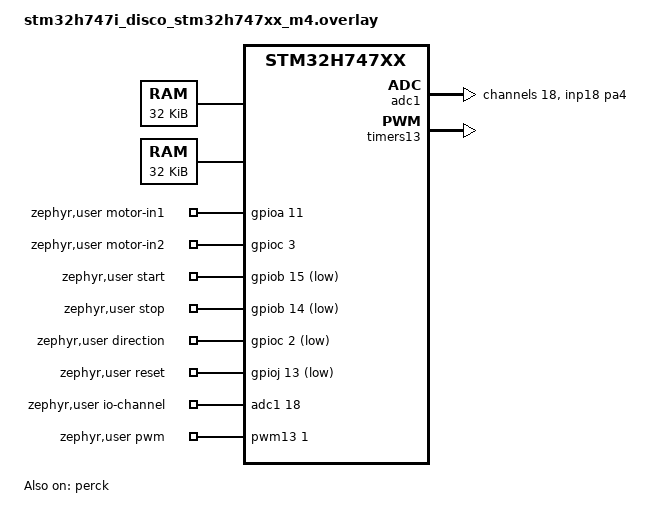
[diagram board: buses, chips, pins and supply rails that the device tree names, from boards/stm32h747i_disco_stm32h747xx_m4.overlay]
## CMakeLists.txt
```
cmake_minimum_required(VERSION 3.20.0)

find_package(Zephyr REQUIRED HINTS $ENV{ZEPHYR_BASE})
project(industrial_ethernet_motor)

target_include_directories(app PRIVATE
  src
  ${CMAKE_CURRENT_SOURCE_DIR}/../app_shared
)

target_sources(app PRIVATE
  src/main.c
  src/app_ipc.c
  src/motor_buttons.c
  src/motor_control.c
  src/motor_potentiometer.c
)
```

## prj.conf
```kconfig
# Local Cortex-M4 motor controller: no network. IPC is diagnostic-only in phase 10.1.
CONFIG_GPIO=y
CONFIG_PWM=y
CONFIG_ADC=y
CONFIG_IPC_SERVICE=y
CONFIG_IPC_SERVICE_BACKEND_ICMSG=y
CONFIG_MBOX=y

# The motor loop runs in the main thread every 10 ms.
CONFIG_MAIN_STACK_SIZE=2048
CONFIG_MAIN_THREAD_PRIORITY=5
CONFIG_THREAD_NAME=y

# The M4 board target has no console routed to ST-LINK by default.
CONFIG_SERIAL=n
CONFIG_CONSOLE=n
CONFIG_PRINTK=n
CONFIG_LOG=n
CONFIG_BOOT_BANNER=n

CONFIG_ASSERT=y
```

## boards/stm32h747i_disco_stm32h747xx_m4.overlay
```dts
#include <zephyr/dt-bindings/gpio/gpio.h>
#include <zephyr/dt-bindings/pwm/pwm.h>

/*
 * STMod+ P2 allocation for the local motor demo.
 *
 * P2.14 PF8  : L293D EN1,2 (TIM13_CH1 PWM)
 * P2.1  PA11 : L293D IN1 (default SPI routing through SB32)
 * P2.2  PC3  : L293D IN2 (default SPI routing through SB34)
 * P2.8  PB15 : START button, active low
 * P2.9  PB14 : STOP button, active low
 * P2.3  PC2  : DIRECTION button, active low (default SPI routing through SB36)
 * P2.12 PJ13 : RESET button, active low
 *
 * P2.7/PD12 and P2.10/PD13 are deliberately left to the M7 LCD I2C bus.
 * P2.11/PC6, P2.17/PC7, P2.19/PB9 and P2.20/PB8 are left to M7 SDMMC1.
 * P2.13 PA4  : potentiometer cursor (ADC1_INP18)
 */

/ {
	chosen {
		/delete-property/ zephyr,ipc_shm;
	};

	/delete-node/ memory@38000000;

	sram_rx: memory@38000000 {
		zephyr,memory-region = "SRAM_RX";
		compatible = "zephyr,memory-region", "mmio-sram";
		reg = <0x38000000 0x08000>;
		zephyr,memory-attr = <DT_MEM_ARM(ATTR_MPU_RAM_NOCACHE)>;
	};

	sram_tx: memory@38008000 {
		zephyr,memory-region = "SRAM_TX";
		compatible = "zephyr,memory-region", "mmio-sram";
		reg = <0x38008000 0x08000>;
		zephyr,memory-attr = <DT_MEM_ARM(ATTR_MPU_RAM_NOCACHE)>;
	};

	ipc0: ipc0 {
		compatible = "zephyr,ipc-icmsg";
		tx-region = <&sram_tx>;
		rx-region = <&sram_rx>;
		mboxes = <&mailbox 10>, <&mailbox 11>;
		mbox-names = "tx", "rx";
		status = "okay";
	};

	zephyr,user {
		motor-in1-gpios = <&gpioa 11 GPIO_ACTIVE_HIGH>;
		motor-in2-gpios = <&gpioc 3 GPIO_ACTIVE_HIGH>;

		start-gpios = <&gpiob 15 (GPIO_ACTIVE_LOW | GPIO_PULL_UP)>;
		stop-gpios = <&gpiob 14 (GPIO_ACTIVE_LOW | GPIO_PULL_UP)>;
		direction-gpios = <&gpioc 2 (GPIO_ACTIVE_LOW | GPIO_PULL_UP)>;
		reset-gpios = <&gpioj 13 (GPIO_ACTIVE_LOW | GPIO_PULL_UP)>;

		/* TIM13_CH1, 5 kHz. */
		pwms = <&pwm13 1 PWM_USEC(200) PWM_POLARITY_NORMAL>;
		io-channels = <&adc1 18>;
	};
};

&mailbox {
	status = "okay";
};

&perck {
	clocks = <&rcc STM32_SRC_HSE CKPER_SEL(2)>;
	status = "okay";
};

&adc1 {
	clocks = <&rcc STM32_CLOCK(AHB1, 5)>,
		 <&rcc STM32_SRC_CKPER ADC_SEL(2)>;
	clock-names = "adcx", "adc_ker";
	st,adc-clock-source = "ASYNC";
	st,adc-prescaler = <256>;
	pinctrl-0 = <&adc1_inp18_pa4>;
	pinctrl-names = "default";
	#address-cells = <1>;
	#size-cells = <0>;
	status = "okay";

	channel@12 {
		reg = <18>;
		zephyr,gain = "ADC_GAIN_1";
		zephyr,reference = "ADC_REF_INTERNAL";
		zephyr,acquisition-time = <ADC_ACQ_TIME_MAX>;
		zephyr,resolution = <12>;
	};
};

&timers13 {
	status = "okay";

	pwm13: pwm {
		status = "okay";
		pinctrl-0 = <&tim13_ch1_pf8>;
		pinctrl-names = "default";
	};
};
```

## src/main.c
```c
#include <stdbool.h>
#include <stdint.h>

#include <zephyr/devicetree.h>
#include <zephyr/drivers/gpio.h>
#include <zephyr/kernel.h>

#include "motor_buttons.h"
#include "motor_control.h"
#include "motor_potentiometer.h"
#include "app_ipc.h"

#define MOTOR_LOOP_PERIOD_MS 10
#define READY_BLINK_PERIOD_MS 500
#define STOPPING_BLINK_PERIOD_MS 100

static const struct gpio_dt_spec blue_led =
	GPIO_DT_SPEC_GET(DT_ALIAS(led0), gpios);
static const struct gpio_dt_spec red_led =
	GPIO_DT_SPEC_GET(DT_ALIAS(led1), gpios);

static bool status_leds_init(void)
{
	if (!gpio_is_ready_dt(&blue_led) || !gpio_is_ready_dt(&red_led))
	{
		return false;
	}

	if (gpio_pin_configure_dt(&blue_led, GPIO_OUTPUT_INACTIVE) < 0)
	{
		return false;
	}

	if (gpio_pin_configure_dt(&red_led, GPIO_OUTPUT_INACTIVE) < 0)
	{
		return false;
	}

	return true;
}

static void status_leds_update(void)
{
	enum app_motor_state state = app_motor_get_state();
	bool blue_on = false;
	bool red_on = false;

	switch (state)
	{
	case APP_MOTOR_STATE_DISABLED:
		break;
	case APP_MOTOR_STATE_READY:
		blue_on = ((k_uptime_get() / READY_BLINK_PERIOD_MS) % 2) != 0;
		break;
	case APP_MOTOR_STATE_RUNNING:
		blue_on = true;
		break;
	case APP_MOTOR_STATE_STOPPING:
		blue_on = ((k_uptime_get() / STOPPING_BLINK_PERIOD_MS) % 2) != 0;
		break;
	case APP_MOTOR_STATE_FAULT:
		red_on = true;
		break;
	}

	(void)gpio_pin_set_dt(&blue_led, blue_on);
	(void)gpio_pin_set_dt(&red_led, red_on);
}

int main(void)
{
	(void)k_thread_name_set(k_current_get(), "motor_main");

	bool leds_ready = status_leds_init();
	int motor_ret = app_motor_init();
	int buttons_ret = app_motor_buttons_init();
	int potentiometer_ret = app_motor_potentiometer_init();
	int ipc_ret = app_ipc_init();

	(void)ipc_ret;

	if ((motor_ret < 0) || (buttons_ret < 0) || (potentiometer_ret < 0))
	{
		if (leds_ready)
		{
			(void)gpio_pin_set_dt(&blue_led, 0);
			(void)gpio_pin_set_dt(&red_led, 1);
		}

		while (true)
		{
			k_sleep(K_FOREVER);
		}
	}

	while (true)
	{
		uint16_t requested_duty;
		uint32_t events = app_motor_buttons_poll();
		int ret = app_motor_potentiometer_poll(&requested_duty);
		app_ipc_process();

		if (ret < 0)
		{
			app_motor_fail(ret);
		}
		else if (!app_ipc_is_remote_mode())
		{
			(void)app_motor_set_target_duty(requested_duty);
		}

		/* STOP has absolute priority if several buttons are pressed together. */
		if ((events & APP_BUTTON_EVENT_STOP) != 0U)
		{
			app_ipc_latch_remote_stop();
			(void)app_motor_stop();
		}
		else if ((events & APP_BUTTON_EVENT_RESET) != 0U)
		{
			app_ipc_clear_remote_stop();
			(void)app_motor_reset();
		}
		else if (!app_ipc_is_remote_mode())
		{
			if ((events & APP_BUTTON_EVENT_DIRECTION) != 0U)
			{
				(void)app_motor_toggle_direction();
			}

			if ((events & APP_BUTTON_EVENT_START) != 0U)
			{
				(void)app_motor_start();
			}
		}

		(void)app_motor_process(MOTOR_LOOP_PERIOD_MS);
		app_ipc_publish_motor_state(app_motor_buttons_get_state(),
							app_motor_potentiometer_get_raw(),
							MOTOR_LOOP_PERIOD_MS);

		if (leds_ready)
		{
			status_leds_update();
		}

		k_msleep(MOTOR_LOOP_PERIOD_MS);
	}

	return 0;
}
```

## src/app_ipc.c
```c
#include "app_ipc.h"

#include <errno.h>
#include <stdbool.h>
#include <stddef.h>

#include <zephyr/device.h>
#include <zephyr/devicetree.h>
#include <zephyr/ipc/ipc_service.h>
#include <zephyr/kernel.h>
#include <zephyr/spinlock.h>
#include <zephyr/sys/atomic.h>
#include <zephyr/sys/byteorder.h>
#include <zephyr/sys/util.h>

#include "app_ipc_protocol.h"
#include "app_motor_contract.h"
#include "motor_control.h"

BUILD_ASSERT(sizeof(struct app_ipc_frame) == 16U,
	     "Unexpected IPC frame size");

static const struct device *const ipc_instance = DEVICE_DT_GET(DT_NODELABEL(ipc0));
static struct ipc_ept ipc_endpoint;
static atomic_t endpoint_bound;
static atomic_t endpoint_initialized;
static atomic_t pending_ping;
static atomic_t pending_sequence;
static struct k_spinlock command_lock;
static struct app_motor_command_message pending_command;
static bool command_pending;
static bool remote_mode;
static bool remote_timed_out;
static bool remote_stop_latched;
static uint16_t remote_timeout_ms;
static uint16_t last_accepted_sequence;
static uint32_t remote_command_timestamp_ms;
static uint32_t state_sequence;
static uint16_t state_heartbeat;

static void frame_init(struct app_ipc_frame *frame, enum app_ipc_frame_type type,
		       uint32_t sequence, uint32_t value)
{
	frame->magic_le = sys_cpu_to_le32(APP_IPC_FRAME_MAGIC);
	frame->version_le = sys_cpu_to_le16(APP_IPC_FRAME_VERSION);
	frame->type_le = sys_cpu_to_le16((uint16_t)type);
	frame->sequence_le = sys_cpu_to_le32(sequence);
	frame->payload_length_le = sys_cpu_to_le32(value);
}

static bool frame_is_valid(const struct app_ipc_frame *frame, size_t len,
			   enum app_ipc_frame_type type)
{
	return (len >= sizeof(*frame)) &&
	       (sys_le32_to_cpu(frame->magic_le) == APP_IPC_FRAME_MAGIC) &&
	       (sys_le16_to_cpu(frame->version_le) == APP_IPC_FRAME_VERSION) &&
	       (sys_le16_to_cpu(frame->type_le) == (uint16_t)type);
}

static bool command_is_valid(const struct app_motor_command_message *message,
			     size_t len)
{
	const struct app_ipc_frame *frame = &message->header;
	uint16_t control;
	uint16_t duty;
	uint16_t accel;
	uint16_t decel;
	uint16_t mode;
	uint16_t timeout;
	uint16_t sequence;

	if (!frame_is_valid(frame, len, APP_IPC_FRAME_MOTOR_COMMAND) ||
	    (len != sizeof(*message)) ||
	    (sys_le32_to_cpu(frame->payload_length_le) !=
	     APP_MOTOR_COMMAND_WORD_COUNT * sizeof(uint16_t))) {
		return false;
	}

	control = sys_le16_to_cpu(message->words_le[APP_MOTOR_COMMAND_CONTROL]);
	duty = sys_le16_to_cpu(message->words_le[APP_MOTOR_COMMAND_DUTY_PERMILLE]);
	accel = sys_le16_to_cpu(message->words_le[APP_MOTOR_COMMAND_ACCEL_RAMP]);
	decel = sys_le16_to_cpu(message->words_le[APP_MOTOR_COMMAND_DECEL_RAMP]);
	mode = sys_le16_to_cpu(message->words_le[APP_MOTOR_COMMAND_MODE]);
	timeout = sys_le16_to_cpu(message->words_le[APP_MOTOR_COMMAND_TIMEOUT_MS]);
	sequence = sys_le16_to_cpu(message->words_le[APP_MOTOR_COMMAND_SEQUENCE]);

	return ((control & ~(APP_MOTOR_COMMAND_ENABLE | APP_MOTOR_COMMAND_RUN |
			     APP_MOTOR_COMMAND_DIRECTION_REVERSE |
			     APP_MOTOR_COMMAND_RESET_FAULT |
			     APP_MOTOR_COMMAND_QUICK_STOP)) == 0U) &&
	       (duty >= APP_MOTOR_DUTY_MIN_PERMILLE) &&
	       (duty <= APP_MOTOR_DUTY_MAX_PERMILLE) &&
	       (accel >= APP_MOTOR_COMMAND_ACCEL_MIN_PERMILLE_PER_SECOND) &&
	       (accel <= APP_MOTOR_COMMAND_ACCEL_MAX_PERMILLE_PER_SECOND) &&
	       (decel >= APP_MOTOR_COMMAND_ACCEL_MIN_PERMILLE_PER_SECOND) &&
	       (decel <= APP_MOTOR_COMMAND_ACCEL_MAX_PERMILLE_PER_SECOND) &&
	       (timeout >= APP_MOTOR_COMMAND_TIMEOUT_MIN_MS) &&
	       (timeout <= APP_MOTOR_COMMAND_TIMEOUT_MAX_MS) &&
	       (message->words_le[APP_MOTOR_COMMAND_RESERVED_0] == 0U) &&
	       (message->words_le[APP_MOTOR_COMMAND_RESERVED_1] == 0U) &&
	       (message->words_le[APP_MOTOR_COMMAND_RESERVED_2] == 0U) &&
	       (sequence == (uint16_t)sys_le32_to_cpu(frame->sequence_le)) &&
	       ((mode == 0U) ||
		(mode == (APP_MOTOR_COMMAND_MODE_REMOTE |
			 APP_MOTOR_COMMAND_MODE_SOURCE(APP_MOTOR_COMMAND_SOURCE_SHELL))) ||
		(mode == (APP_MOTOR_COMMAND_MODE_REMOTE |
			 APP_MOTOR_COMMAND_MODE_SOURCE(APP_MOTOR_COMMAND_SOURCE_MODBUS))));
}

static void endpoint_bound_callback(void *priv)
{
	ARG_UNUSED(priv);
	atomic_set(&endpoint_bound, 1);
}

static void endpoint_unbound_callback(void *priv)
{
	ARG_UNUSED(priv);
	atomic_set(&endpoint_bound, 0);
}

static void endpoint_received(const void *data, size_t len, void *priv)
{
	const struct app_ipc_frame *frame = data;
	uint16_t type;

	ARG_UNUSED(priv);

	if ((len < sizeof(*frame)) ||
	    (sys_le32_to_cpu(frame->magic_le) != APP_IPC_FRAME_MAGIC) ||
	    (sys_le16_to_cpu(frame->version_le) != APP_IPC_FRAME_VERSION)) {
		return;
	}

	type = sys_le16_to_cpu(frame->type_le);
	if (type == APP_IPC_FRAME_PING) {
		if ((len != sizeof(*frame)) ||
		    (sys_le32_to_cpu(frame->payload_length_le) != 0U)) {
			return;
		}

		atomic_set(&pending_sequence,
			   (atomic_val_t)sys_le32_to_cpu(frame->sequence_le));
		atomic_set(&pending_ping, 1);
		return;
	}

	if (type == APP_IPC_FRAME_MOTOR_COMMAND) {
		const struct app_motor_command_message *message = data;
		k_spinlock_key_t key;

		if (!command_is_valid(message, len)) {
			return;
		}

		key = k_spin_lock(&command_lock);
		pending_command = *message;
		command_pending = true;
		k_spin_unlock(&command_lock, key);
	}
}

static int apply_remote_command(const struct app_motor_command_message *message)
{
	uint16_t control = sys_le16_to_cpu(message->words_le[APP_MOTOR_COMMAND_CONTROL]);
	uint16_t mode = sys_le16_to_cpu(message->words_le[APP_MOTOR_COMMAND_MODE]);
	uint16_t sequence = sys_le16_to_cpu(message->words_le[APP_MOTOR_COMMAND_SEQUENCE]);
	int ret = 0;

	if (mode == 0U) {
		if ((control & APP_MOTOR_COMMAND_RESET_FAULT) != 0U) {
			ret = app_motor_reset();
			if (ret < 0) {
				return ret;
			}
		}

		ret = app_motor_stop();
		if (ret < 0) {
			return ret;
		}

		remote_mode = false;
		remote_timed_out = false;
		remote_stop_latched = false;
		app_motor_restore_default_ramps();
		last_accepted_sequence = sequence;
		return 0;
	}

	remote_mode = true;
	remote_timed_out = false;
	remote_timeout_ms = sys_le16_to_cpu(message->words_le[APP_MOTOR_COMMAND_TIMEOUT_MS]);
	remote_command_timestamp_ms = k_uptime_get_32();

	ret = app_motor_set_ramps(
		sys_le16_to_cpu(message->words_le[APP_MOTOR_COMMAND_ACCEL_RAMP]),
		sys_le16_to_cpu(message->words_le[APP_MOTOR_COMMAND_DECEL_RAMP]));
	if (ret < 0) {
		return ret;
	}

	ret = app_motor_set_target_duty(
		sys_le16_to_cpu(message->words_le[APP_MOTOR_COMMAND_DUTY_PERMILLE]));
	if (ret < 0) {
		return ret;
	}

	if ((control & APP_MOTOR_COMMAND_RESET_FAULT) != 0U) {
		remote_stop_latched = false;
		ret = app_motor_reset();
	} else if ((control & APP_MOTOR_COMMAND_QUICK_STOP) != 0U) {
		ret = app_motor_quick_stop();
	} else if (remote_stop_latched &&
		   ((control & APP_MOTOR_COMMAND_RUN) != 0U)) {
		ret = -ECANCELED;
	} else if ((control & APP_MOTOR_COMMAND_RUN) == 0U) {
		/* An external stop must never be blocked by a deferred direction change. */
		ret = app_motor_stop();
		if ((ret == 0) &&
		    (app_motor_get_state() == APP_MOTOR_STATE_READY)) {
			enum app_motor_direction direction =
				(control & APP_MOTOR_COMMAND_DIRECTION_REVERSE) != 0U ?
				APP_MOTOR_DIRECTION_REVERSE : APP_MOTOR_DIRECTION_FORWARD;

			if (direction != app_motor_get_direction()) {
				ret = app_motor_set_direction(direction);
			}
		}
	} else {
		enum app_motor_direction direction =
			(control & APP_MOTOR_COMMAND_DIRECTION_REVERSE) != 0U ?
			APP_MOTOR_DIRECTION_REVERSE : APP_MOTOR_DIRECTION_FORWARD;

		if (direction != app_motor_get_direction()) {
			ret = app_motor_set_direction(direction);
		}
	}

	if ((ret == 0) && ((control & APP_MOTOR_COMMAND_RUN) != 0U) &&
	    ((control & APP_MOTOR_COMMAND_ENABLE) != 0U)) {
		ret = app_motor_start();
	}

	if (ret == 0) {
		last_accepted_sequence = sequence;
	}

	return ret;
}

static void process_pending_command(void)
{
	struct app_motor_command_message message;
	k_spinlock_key_t key;

	key = k_spin_lock(&command_lock);
	if (!command_pending) {
		k_spin_unlock(&command_lock, key);
		return;
	}
	message = pending_command;
	command_pending = false;
	k_spin_unlock(&command_lock, key);

	(void)apply_remote_command(&message);
}

static void process_remote_timeout(void)
{
	if (!remote_mode || remote_timed_out ||
	    ((k_uptime_get_32() - remote_command_timestamp_ms) <= remote_timeout_ms)) {
		return;
	}

	remote_timed_out = true;
	(void)app_motor_stop();
}

static const struct ipc_ept_cfg endpoint_config = {
	.name = APP_IPC_ENDPOINT_NAME,
	.cb = {
		.bound = endpoint_bound_callback,
		.unbound = endpoint_unbound_callback,
		.received = endpoint_received,
	},
};

int app_ipc_init(void)
{
	int ret;

	if (atomic_get(&endpoint_initialized) != 0) {
		return 0;
	}

	if (!device_is_ready(ipc_instance)) {
		return -ENODEV;
	}

	ret = ipc_service_open_instance(ipc_instance);
	if ((ret < 0) && (ret != -EALREADY)) {
		return ret;
	}

	ret = ipc_service_register_endpoint(ipc_instance, &ipc_endpoint, &endpoint_config);
	if (ret < 0) {
		return ret;
	}

	atomic_set(&endpoint_initialized, 1);
	return 0;
}

void app_ipc_process(void)
{
	struct app_ipc_frame frame;
	uint32_t sequence;
	int ret;

	process_pending_command();
	process_remote_timeout();

	if ((atomic_get(&endpoint_initialized) == 0) ||
	    (atomic_get(&endpoint_bound) == 0) ||
	    !atomic_cas(&pending_ping, 1, 0)) {
		return;
	}

	sequence = (uint32_t)atomic_get(&pending_sequence);
	frame_init(&frame, APP_IPC_FRAME_PONG, sequence, 0U);
	ret = ipc_service_send(&ipc_endpoint, &frame, sizeof(frame));
	if (ret < 0) {
		atomic_set(&pending_ping, 1);
	}
}

bool app_ipc_is_remote_mode(void)
{
	return remote_mode;
}

void app_ipc_latch_remote_stop(void)
{
	if (remote_mode) {
		remote_stop_latched = true;
	}
}

void app_ipc_clear_remote_stop(void)
{
	remote_stop_latched = false;
}

static uint16_t motor_state_flags(void)
{
	uint16_t flags = APP_MOTOR_STATE_FLAG_IPC_VALID;

	flags |= remote_mode ? APP_MOTOR_STATE_FLAG_REMOTE : APP_MOTOR_STATE_FLAG_LOCAL;
	if (remote_timed_out) {
		flags |= APP_MOTOR_STATE_FLAG_REMOTE_TIMEOUT;
	}
	if (remote_stop_latched) {
		flags |= APP_MOTOR_STATE_FLAG_REMOTE_STOP_LATCH;
	}

	switch (app_motor_get_state()) {
	case APP_MOTOR_STATE_DISABLED:
		flags |= APP_MOTOR_STATE_FLAG_DISABLED;
		break;
	case APP_MOTOR_STATE_READY:
		flags |= APP_MOTOR_STATE_FLAG_READY;
		break;
	case APP_MOTOR_STATE_RUNNING:
		flags |= APP_MOTOR_STATE_FLAG_RUNNING;
		break;
	case APP_MOTOR_STATE_STOPPING:
		flags |= APP_MOTOR_STATE_FLAG_STOPPING;
		break;
	case APP_MOTOR_STATE_FAULT:
		flags |= APP_MOTOR_STATE_FLAG_FAULT;
		break;
	}

	return flags;
}

void app_ipc_publish_motor_state(uint16_t buttons, uint16_t potentiometer_raw,
				 uint16_t loop_time_ms)
{
	struct app_motor_state_message message = { 0 };
	int ret;

	if ((atomic_get(&endpoint_initialized) == 0) ||
	    (atomic_get(&endpoint_bound) == 0)) {
		return;
	}

	frame_init(&message.header, APP_IPC_FRAME_MOTOR_STATE, ++state_sequence,
		   APP_MOTOR_STATE_WORD_COUNT * sizeof(uint16_t));
	message.words_le[APP_MOTOR_STATE_FLAGS] =
		sys_cpu_to_le16(motor_state_flags());
	message.words_le[APP_MOTOR_STATE_APPLIED_DUTY_PERMILLE] =
		sys_cpu_to_le16(app_motor_get_duty_permille());
	message.words_le[APP_MOTOR_STATE_TARGET_DUTY_PERMILLE] =
		sys_cpu_to_le16(app_motor_get_target_duty_permille());
	message.words_le[APP_MOTOR_STATE_DIRECTION] =
		sys_cpu_to_le16((uint16_t)app_motor_get_direction());
	message.words_le[APP_MOTOR_STATE_FAULT_CODE] =
		sys_cpu_to_le16((uint16_t)app_motor_get_last_error());
	message.words_le[APP_MOTOR_STATE_BUTTONS] = sys_cpu_to_le16(buttons);
	message.words_le[APP_MOTOR_STATE_POTENTIOMETER_RAW] =
		sys_cpu_to_le16(potentiometer_raw);
	if (remote_mode) {
		message.words_le[APP_MOTOR_STATE_COMMAND_AGE_MS] = sys_cpu_to_le16(
			(uint16_t)(k_uptime_get_32() - remote_command_timestamp_ms));
	}
	message.words_le[APP_MOTOR_STATE_LOOP_TIME_MS] = sys_cpu_to_le16(loop_time_ms);
	message.words_le[APP_MOTOR_STATE_HEARTBEAT] =
		sys_cpu_to_le16(++state_heartbeat);
	message.words_le[APP_MOTOR_STATE_LAST_ACCEPTED_SEQUENCE] =
		sys_cpu_to_le16(last_accepted_sequence);

	ret = ipc_service_send(&ipc_endpoint, &message, sizeof(message));
	if (ret < 0) {
		return;
	}
}
```

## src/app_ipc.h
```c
#ifndef APP_IPC_H_
#define APP_IPC_H_

#include <stdbool.h>
#include <stdint.h>

int app_ipc_init(void);
void app_ipc_process(void);
bool app_ipc_is_remote_mode(void);
void app_ipc_latch_remote_stop(void);
void app_ipc_clear_remote_stop(void);
void app_ipc_publish_motor_state(uint16_t buttons, uint16_t potentiometer_raw,
				 uint16_t loop_time_ms);

#endif /* APP_IPC_H_ */
```

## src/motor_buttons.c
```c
#include "motor_buttons.h"

#include <stdbool.h>
#include <stddef.h>
#include <stdint.h>

#include <zephyr/devicetree.h>
#include <zephyr/drivers/gpio.h>
#include <zephyr/sys/util.h>

#define MOTOR_NODE DT_PATH(zephyr_user)
#define BUTTON_DEBOUNCE_SAMPLES 3U

struct app_button {
	struct gpio_dt_spec gpio;
	uint32_t event;
	bool candidate;
	bool stable;
	uint8_t candidate_samples;
};

static struct app_button buttons[] = {
	{
		.gpio = GPIO_DT_SPEC_GET(MOTOR_NODE, start_gpios),
		.event = APP_BUTTON_EVENT_START,
	},
	{
		.gpio = GPIO_DT_SPEC_GET(MOTOR_NODE, stop_gpios),
		.event = APP_BUTTON_EVENT_STOP,
	},
	{
		.gpio = GPIO_DT_SPEC_GET(MOTOR_NODE, direction_gpios),
		.event = APP_BUTTON_EVENT_DIRECTION,
	},
	{
		.gpio = GPIO_DT_SPEC_GET(MOTOR_NODE, reset_gpios),
		.event = APP_BUTTON_EVENT_RESET,
	},
};

int app_motor_buttons_init(void)
{
	int ret;

	for (size_t i = 0; i < ARRAY_SIZE(buttons); i++) {
		if (!gpio_is_ready_dt(&buttons[i].gpio)) {
			return -ENODEV;
		}

		ret = gpio_pin_configure_dt(&buttons[i].gpio, GPIO_INPUT);
		if (ret < 0) {
			return ret;
		}

		buttons[i].candidate = false;
		buttons[i].stable = false;
		buttons[i].candidate_samples = 0U;
	}

	return 0;
}

uint32_t app_motor_buttons_poll(void)
{
	uint32_t events = 0U;

	for (size_t i = 0; i < ARRAY_SIZE(buttons); i++) {
		int value = gpio_pin_get_dt(&buttons[i].gpio);
		bool pressed;

		if (value < 0) {
			continue;
		}

		pressed = value != 0;
		if (pressed != buttons[i].candidate) {
			buttons[i].candidate = pressed;
			buttons[i].candidate_samples = 1U;
			continue;
		}

		if (buttons[i].candidate_samples < BUTTON_DEBOUNCE_SAMPLES) {
			buttons[i].candidate_samples++;
		}

		if ((buttons[i].candidate_samples == BUTTON_DEBOUNCE_SAMPLES) &&
		    (buttons[i].stable != buttons[i].candidate)) {
			buttons[i].stable = buttons[i].candidate;
			if (buttons[i].stable) {
				events |= buttons[i].event;
			}
		}
	}

	return events;
}

uint16_t app_motor_buttons_get_state(void)
{
	uint16_t state = 0U;

	for (size_t i = 0; i < ARRAY_SIZE(buttons); i++) {
		if (buttons[i].stable) {
			state |= (uint16_t)buttons[i].event;
		}
	}

	return state;
}
```

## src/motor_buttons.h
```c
#ifndef APP_MOTOR_BUTTONS_H_
#define APP_MOTOR_BUTTONS_H_

#include <stdint.h>

#define APP_BUTTON_EVENT_START     (1U << 0)
#define APP_BUTTON_EVENT_STOP      (1U << 1)
#define APP_BUTTON_EVENT_DIRECTION (1U << 2)
#define APP_BUTTON_EVENT_RESET     (1U << 3)

int app_motor_buttons_init(void);
uint32_t app_motor_buttons_poll(void);
uint16_t app_motor_buttons_get_state(void);

#endif /* APP_MOTOR_BUTTONS_H_ */
```

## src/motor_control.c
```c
#include "motor_control.h"

#include <errno.h>
#include <stdint.h>

#include <zephyr/devicetree.h>
#include <zephyr/drivers/gpio.h>
#include <zephyr/drivers/pwm.h>

#define MOTOR_NODE DT_PATH(zephyr_user)
#define MOTOR_START_BOOST_PERMILLE 1000U
#define MOTOR_START_BOOST_MS 250U
#define MOTOR_RUN_RAMP_PERMILLE_PER_SECOND 1000U
#define MOTOR_STOP_RAMP_PERMILLE_PER_SECOND 4000U

static const struct gpio_dt_spec motor_in1 =
	GPIO_DT_SPEC_GET(MOTOR_NODE, motor_in1_gpios);
static const struct gpio_dt_spec motor_in2 =
	GPIO_DT_SPEC_GET(MOTOR_NODE, motor_in2_gpios);
static const struct pwm_dt_spec motor_pwm = PWM_DT_SPEC_GET(MOTOR_NODE);

static enum app_motor_state motor_state = APP_MOTOR_STATE_DISABLED;
static enum app_motor_direction motor_direction = APP_MOTOR_DIRECTION_FORWARD;
static uint16_t motor_duty_permille;
static uint16_t motor_target_duty_permille = APP_MOTOR_DUTY_MIN_PERMILLE;
static uint32_t motor_boost_remaining_ms;
static int motor_last_error;
static uint16_t motor_run_ramp_permille_per_second =
	MOTOR_RUN_RAMP_PERMILLE_PER_SECOND;
static uint16_t motor_stop_ramp_permille_per_second =
	MOTOR_STOP_RAMP_PERMILLE_PER_SECOND;

static int motor_make_safe(void)
{
	int first_error = 0;
	int ret;

	ret = pwm_set_pulse_dt(&motor_pwm, 0U);
	if (ret < 0) {
		first_error = ret;
	}

	ret = gpio_pin_set_dt(&motor_in1, 0);
	if ((ret < 0) && (first_error == 0)) {
		first_error = ret;
	}

	ret = gpio_pin_set_dt(&motor_in2, 0);
	if ((ret < 0) && (first_error == 0)) {
		first_error = ret;
	}

	motor_duty_permille = 0U;
	motor_boost_remaining_ms = 0U;
	return first_error;
}

static void motor_record_fault(int error)
{
	(void)motor_make_safe();
	motor_last_error = error < 0 ? error : -EIO;
	motor_state = APP_MOTOR_STATE_FAULT;
}

static int motor_set_pwm(uint16_t duty_permille)
{
	uint32_t pulse;
	int ret;

	if (duty_permille > APP_MOTOR_DUTY_MAX_PERMILLE) {
		return -EINVAL;
	}

	pulse = (uint32_t)(((uint64_t)motor_pwm.period * duty_permille) / 1000U);
	ret = pwm_set_pulse_dt(&motor_pwm, pulse);
	if (ret < 0) {
		motor_record_fault(ret);
		return ret;
	}

	motor_duty_permille = duty_permille;
	return 0;
}

static int motor_apply_direction(void)
{
	int in1 = motor_direction == APP_MOTOR_DIRECTION_FORWARD ? 1 : 0;
	int in2 = motor_direction == APP_MOTOR_DIRECTION_FORWARD ? 0 : 1;
	int ret;

	ret = gpio_pin_set_dt(&motor_in1, in1);
	if (ret < 0) {
		motor_record_fault(ret);
		return ret;
	}

	ret = gpio_pin_set_dt(&motor_in2, in2);
	if (ret < 0) {
		motor_record_fault(ret);
		return ret;
	}

	return 0;
}

static uint16_t motor_ramp_step(uint32_t rate_per_second, uint32_t elapsed_ms)
{
	uint32_t step = (rate_per_second * elapsed_ms) / 1000U;

	if ((step == 0U) && (elapsed_ms != 0U)) {
		step = 1U;
	}

	return (uint16_t)step;
}

static int motor_ramp_towards(uint16_t target, uint16_t step)
{
	uint16_t next = motor_duty_permille;

	if (next < target) {
		next = (target - next) <= step ? target : next + step;
	} else if (next > target) {
		next = (next - target) <= step ? target : next - step;
	}

	return motor_set_pwm(next);
}

int app_motor_init(void)
{
	int ret;

	if (!gpio_is_ready_dt(&motor_in1) || !gpio_is_ready_dt(&motor_in2) ||
	    !pwm_is_ready_dt(&motor_pwm)) {
		motor_record_fault(-ENODEV);
		return -ENODEV;
	}

	ret = gpio_pin_configure_dt(&motor_in1, GPIO_OUTPUT_INACTIVE);
	if (ret < 0) {
		motor_record_fault(ret);
		return ret;
	}

	ret = gpio_pin_configure_dt(&motor_in2, GPIO_OUTPUT_INACTIVE);
	if (ret < 0) {
		motor_record_fault(ret);
		return ret;
	}

	ret = motor_make_safe();
	if (ret < 0) {
		motor_record_fault(ret);
		return ret;
	}

	motor_direction = APP_MOTOR_DIRECTION_FORWARD;
	motor_last_error = 0;
	motor_state = APP_MOTOR_STATE_READY;
	return 0;
}

int app_motor_start(void)
{
	int ret;

	if (motor_state == APP_MOTOR_STATE_FAULT) {
		return -EIO;
	}

	if (motor_state == APP_MOTOR_STATE_RUNNING) {
		return 0;
	}

	if (motor_state != APP_MOTOR_STATE_READY) {
		return -EBUSY;
	}

	ret = motor_apply_direction();
	if (ret < 0) {
		return ret;
	}

	ret = motor_set_pwm(MOTOR_START_BOOST_PERMILLE);
	if (ret < 0) {
		return ret;
	}

	motor_boost_remaining_ms = MOTOR_START_BOOST_MS;
	motor_state = APP_MOTOR_STATE_RUNNING;
	return 0;
}

int app_motor_stop(void)
{
	if (motor_state == APP_MOTOR_STATE_FAULT) {
		return -EIO;
	}

	if ((motor_state == APP_MOTOR_STATE_READY) ||
	    (motor_state == APP_MOTOR_STATE_DISABLED)) {
		return 0;
	}

	motor_boost_remaining_ms = 0U;
	motor_state = APP_MOTOR_STATE_STOPPING;
	return 0;
}

int app_motor_toggle_direction(void)
{
	if (motor_state == APP_MOTOR_STATE_FAULT) {
		return -EIO;
	}

	if (motor_state != APP_MOTOR_STATE_READY) {
		return -EBUSY;
	}

	motor_direction = motor_direction == APP_MOTOR_DIRECTION_FORWARD ?
		APP_MOTOR_DIRECTION_REVERSE : APP_MOTOR_DIRECTION_FORWARD;
	return 0;
}

int app_motor_set_direction(enum app_motor_direction direction)
{
	if ((direction != APP_MOTOR_DIRECTION_FORWARD) &&
	    (direction != APP_MOTOR_DIRECTION_REVERSE)) {
		return -EINVAL;
	}

	if (motor_state == APP_MOTOR_STATE_FAULT) {
		return -EIO;
	}

	if (motor_state != APP_MOTOR_STATE_READY) {
		return -EBUSY;
	}

	motor_direction = direction;
	return 0;
}

int app_motor_reset(void)
{
	int ret = motor_make_safe();

	if (ret < 0) {
		motor_record_fault(ret);
		return ret;
	}

	motor_direction = APP_MOTOR_DIRECTION_FORWARD;
	motor_last_error = 0;
	motor_state = APP_MOTOR_STATE_READY;
	return 0;
}

int app_motor_quick_stop(void)
{
	int ret;

	if (motor_state == APP_MOTOR_STATE_FAULT) {
		return -EIO;
	}

	ret = motor_make_safe();
	if (ret < 0) {
		motor_record_fault(ret);
		return ret;
	}

	motor_state = APP_MOTOR_STATE_READY;
	return 0;
}

int app_motor_set_target_duty(uint16_t duty_permille)
{
	if ((duty_permille < APP_MOTOR_DUTY_MIN_PERMILLE) ||
	    (duty_permille > APP_MOTOR_DUTY_MAX_PERMILLE)) {
		return -ERANGE;
	}

	motor_target_duty_permille = duty_permille;
	return 0;
}

int app_motor_set_ramps(uint16_t accel_permille_per_second,
			uint16_t decel_permille_per_second)
{
	if ((accel_permille_per_second == 0U) ||
	    (decel_permille_per_second == 0U)) {
		return -EINVAL;
	}

	motor_run_ramp_permille_per_second = accel_permille_per_second;
	motor_stop_ramp_permille_per_second = decel_permille_per_second;
	return 0;
}

void app_motor_restore_default_ramps(void)
{
	motor_run_ramp_permille_per_second = MOTOR_RUN_RAMP_PERMILLE_PER_SECOND;
	motor_stop_ramp_permille_per_second = MOTOR_STOP_RAMP_PERMILLE_PER_SECOND;
}

int app_motor_process(uint32_t elapsed_ms)
{
	uint16_t step;
	int ret;

	if (motor_state == APP_MOTOR_STATE_RUNNING) {
		if (motor_boost_remaining_ms != 0U) {
			if (elapsed_ms >= motor_boost_remaining_ms) {
				motor_boost_remaining_ms = 0U;
			} else {
				motor_boost_remaining_ms -= elapsed_ms;
			}
			return 0;
		}

		step = motor_ramp_step(motor_run_ramp_permille_per_second,
					     elapsed_ms);
		return motor_ramp_towards(motor_target_duty_permille, step);
	}

	if (motor_state == APP_MOTOR_STATE_STOPPING) {
		step = motor_ramp_step(motor_stop_ramp_permille_per_second,
					     elapsed_ms);
		ret = motor_ramp_towards(0U, step);
		if (ret < 0) {
			return ret;
		}

		if (motor_duty_permille == 0U) {
			ret = motor_make_safe();
			if (ret < 0) {
				motor_record_fault(ret);
				return ret;
			}
			motor_state = APP_MOTOR_STATE_READY;
		}
	}

	return 0;
}

void app_motor_fail(int error)
{
	motor_record_fault(error);
}

enum app_motor_state app_motor_get_state(void)
{
	return motor_state;
}

enum app_motor_direction app_motor_get_direction(void)
{
	return motor_direction;
}

uint16_t app_motor_get_duty_permille(void)
{
	return motor_duty_permille;
}

uint16_t app_motor_get_target_duty_permille(void)
{
	return motor_target_duty_permille;
}

int app_motor_get_last_error(void)
{
	return motor_last_error;
}
```

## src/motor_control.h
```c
#ifndef APP_MOTOR_CONTROL_H_
#define APP_MOTOR_CONTROL_H_

#include <stdint.h>

#define APP_MOTOR_DUTY_MIN_PERMILLE 800U
#define APP_MOTOR_DUTY_MAX_PERMILLE 1000U

enum app_motor_state {
	APP_MOTOR_STATE_DISABLED,
	APP_MOTOR_STATE_READY,
	APP_MOTOR_STATE_RUNNING,
	APP_MOTOR_STATE_STOPPING,
	APP_MOTOR_STATE_FAULT,
};

enum app_motor_direction {
	APP_MOTOR_DIRECTION_FORWARD,
	APP_MOTOR_DIRECTION_REVERSE,
};

int app_motor_init(void);
int app_motor_start(void);
int app_motor_stop(void);
int app_motor_toggle_direction(void);
int app_motor_set_direction(enum app_motor_direction direction);
int app_motor_reset(void);
int app_motor_quick_stop(void);
int app_motor_set_target_duty(uint16_t duty_permille);
int app_motor_set_ramps(uint16_t accel_permille_per_second,
			uint16_t decel_permille_per_second);
void app_motor_restore_default_ramps(void);
int app_motor_process(uint32_t elapsed_ms);
void app_motor_fail(int error);

enum app_motor_state app_motor_get_state(void);
enum app_motor_direction app_motor_get_direction(void);
uint16_t app_motor_get_duty_permille(void);
uint16_t app_motor_get_target_duty_permille(void);
int app_motor_get_last_error(void);

#endif /* APP_MOTOR_CONTROL_H_ */
```

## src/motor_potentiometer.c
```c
#include "motor_potentiometer.h"

#include <errno.h>
#include <stdbool.h>
#include <stdint.h>

#include <zephyr/devicetree.h>
#include <zephyr/drivers/adc.h>

#include "motor_control.h"

#define POTENTIOMETER_NODE DT_PATH(zephyr_user)
#define POTENTIOMETER_ADC_MAX 4095U
#define POTENTIOMETER_FILTER_DIVISOR 8
#define POTENTIOMETER_DEADBAND_PERMILLE 4U

static const struct adc_dt_spec potentiometer_adc =
	ADC_DT_SPEC_GET_BY_IDX(POTENTIOMETER_NODE, 0);

static int32_t potentiometer_filtered_raw;
static uint16_t potentiometer_raw;
static uint16_t potentiometer_duty = APP_MOTOR_DUTY_MIN_PERMILLE;
static bool potentiometer_filter_ready;

static uint16_t potentiometer_raw_to_duty(uint16_t raw)
{
	uint32_t range = APP_MOTOR_DUTY_MAX_PERMILLE - APP_MOTOR_DUTY_MIN_PERMILLE;

	return APP_MOTOR_DUTY_MIN_PERMILLE +
		(uint16_t)(((uint32_t)raw * range) / POTENTIOMETER_ADC_MAX);
}

int app_motor_potentiometer_init(void)
{
	int ret;

	if (!adc_is_ready_dt(&potentiometer_adc)) {
		return -ENODEV;
	}

	ret = adc_channel_setup_dt(&potentiometer_adc);
	if (ret < 0) {
		return ret;
	}

	potentiometer_filter_ready = false;
	return 0;
}

int app_motor_potentiometer_poll(uint16_t *duty_permille)
{
	uint16_t sample;
	uint16_t new_duty;
	uint16_t difference;
	struct adc_sequence sequence = {
		.buffer = &sample,
		.buffer_size = sizeof(sample),
	};
	int ret;

	if (duty_permille == NULL) {
		return -EINVAL;
	}

	ret = adc_sequence_init_dt(&potentiometer_adc, &sequence);
	if (ret < 0) {
		return ret;
	}

	ret = adc_read_dt(&potentiometer_adc, &sequence);
	if (ret < 0) {
		return ret;
	}

	if (sample > POTENTIOMETER_ADC_MAX) {
		sample = POTENTIOMETER_ADC_MAX;
	}

	potentiometer_raw = sample;
	if (!potentiometer_filter_ready) {
		potentiometer_filtered_raw = sample;
		potentiometer_filter_ready = true;
	} else {
		potentiometer_filtered_raw +=
			((int32_t)sample - potentiometer_filtered_raw) /
			POTENTIOMETER_FILTER_DIVISOR;
	}

	new_duty = potentiometer_raw_to_duty((uint16_t)potentiometer_filtered_raw);
	difference = new_duty > potentiometer_duty ?
		new_duty - potentiometer_duty : potentiometer_duty - new_duty;
	if (difference >= POTENTIOMETER_DEADBAND_PERMILLE) {
		potentiometer_duty = new_duty;
	}

	*duty_permille = potentiometer_duty;
	return 0;
}

uint16_t app_motor_potentiometer_get_raw(void)
{
	return potentiometer_raw;
}
```

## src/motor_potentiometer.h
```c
#ifndef APP_MOTOR_POTENTIOMETER_H_
#define APP_MOTOR_POTENTIOMETER_H_

#include <stdint.h>

int app_motor_potentiometer_init(void);
int app_motor_potentiometer_poll(uint16_t *duty_permille);
uint16_t app_motor_potentiometer_get_raw(void);

#endif /* APP_MOTOR_POTENTIOMETER_H_ */
```
